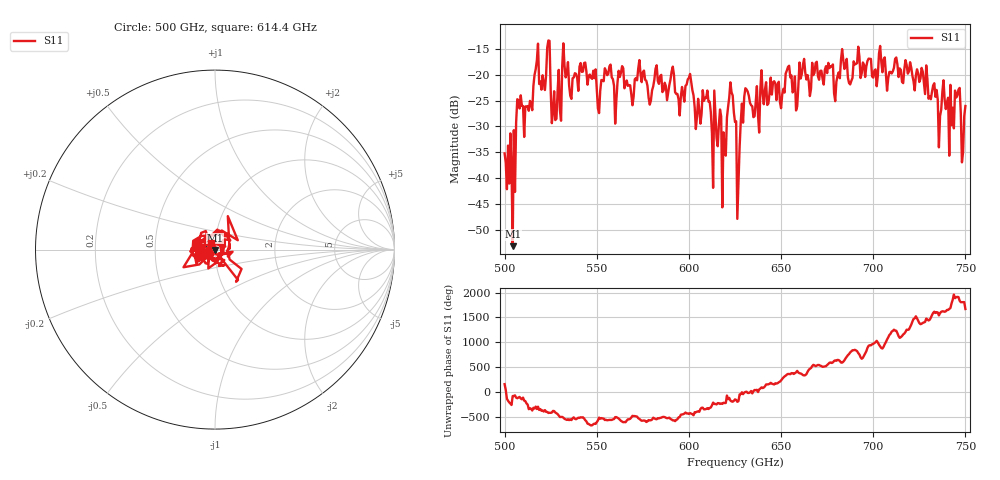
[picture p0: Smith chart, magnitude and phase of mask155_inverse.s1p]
!Created with skrf (http://scikit-rf.org).
# GHz S MA R 50.0
!freq magS11 angS11
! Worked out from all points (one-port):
!   401 points, 500 GHz to 750 GHz, reference 50 ohm
!   lowest |S11| = -53.2 dB at 504.4 GHz (marker M1), VSWR 1.00, Z = 50 - j0.214 ohm
!   |S11| at or under -10 dB: start of sweep to end of sweep
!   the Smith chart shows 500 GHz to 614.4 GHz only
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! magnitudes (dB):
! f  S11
! 500 GHz  -35.2
! 504.4 GHz  -53.2
! 507.5 GHz  -24.9
! 513.8 GHz  -25.1
! 516.9 GHz  -18.9
! 520.6 GHz  -20.1
! 523.8 GHz  -13.4
! 526.9 GHz  -23.2
! 531.2 GHz  -18.4
! 560 GHz  -29.5
! 562.5 GHz  -20.5
! 579.4 GHz  -25.0
! 590.6 GHz  -19.4
! 593.8 GHz  -23.7
! 610 GHz  -23.1
! 619.4 GHz  -34.6
! 622.5 GHz  -21.5
! 625 GHz  -29.2
! 627.5 GHz  -34.0
! 631.2 GHz  -22.9
! 636.9 GHz  -22.2
! 656.2 GHz  -23.4
! 680 GHz  -21.4
! 684.4 GHz  -18.9
! 687.5 GHz  -21.9
! 691.2 GHz  -17.8
! 718.8 GHz  -19.8
! 750 GHz  -26.1
